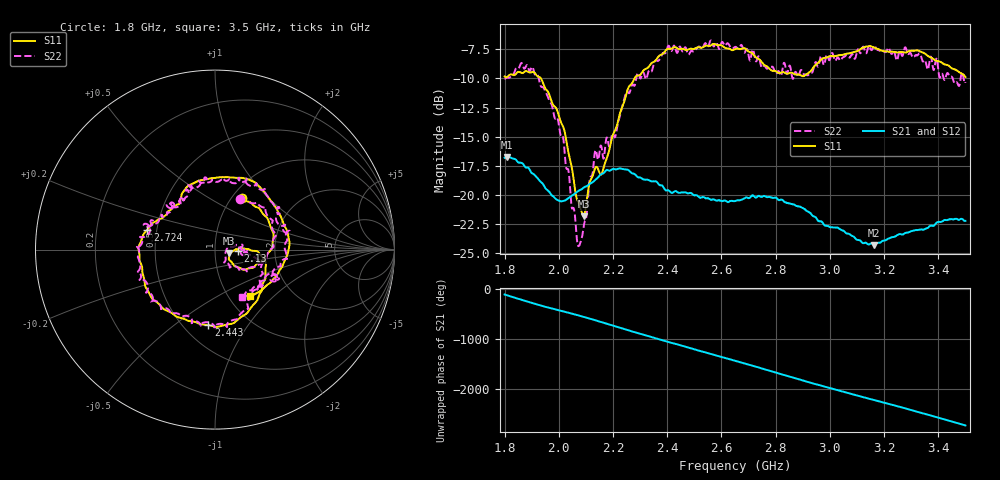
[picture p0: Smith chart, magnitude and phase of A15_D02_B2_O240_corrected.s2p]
! Created with skrf 1.9.0 (http://scikit-rf.org).
# Hz S RI R 50.0
!freq ReS11 ImS11 ReS21 ImS21 ReS12 ImS12 ReS22 ImS22
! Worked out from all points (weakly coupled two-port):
!   1601 points, 1.8 GHz to 3.5 GHz, reference 50 ohm
!   highest |S21| = -16.74 dB at 1.81 GHz (marker M1); lowest = -24.3 dB at 3.162 GHz (marker M2)
!   lowest |S11| = -21.8 dB at 2.092 GHz (marker M3), VSWR 1.18, Z = 58.5 - j2.36 ohm
!   |S11| at or under -10 dB: 1.934 GHz to 2.279 GHz (345.5 MHz wide, 16.4 % of centre)
!   |S22| runs from -24.4 to -6.7 dB; largest |S21 - S12| = 0.0024
!   S11 on the Smith chart (normalised r, x): 1.8 GHz: 1.11, +0.71; 2.13 GHz: 1.29, -0.02; 2.443 GHz: 0.66, -0.67; 2.724 GHz: 0.44, +0.12; 3.5 GHz: 1.25, -0.72
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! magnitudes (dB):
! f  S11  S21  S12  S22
! 1.8 GHz  -9.8  -16.8  -16.8  -10.0
! 1.81 GHz  -9.9  -16.7  -16.8  -9.9
! 1.864 GHz  -9.5  -17.3  -17.3  -8.7
! 1.952 GHz  -10.9  -19.5  -19.4  -11.2
! 2.011 GHz  -13.9  -20.5  -20.5  -14.8
! 2.07 GHz  -20.5  -19.7  -19.7  -24.3
! 2.084 GHz  -21.4  -19.5  -19.5  -23.7
! 2.092 GHz  -21.8  -19.3  -19.4  -22.7
! 2.13 GHz  -17.9  -18.8  -18.8  -16.8
! 2.162 GHz  -17.9  -18.2  -18.1  -16.7
! 2.209 GHz  -14.4  -17.8  -17.8  -14.9
! 2.26 GHz  -10.7  -17.9  -17.9  -11.3
! 2.367 GHz  -8.1  -19.0  -19.0  -8.5
! 2.443 GHz  -7.5  -19.8  -19.8  -7.4
! 2.65 GHz  -7.5  -20.5  -20.5  -7.3
! 2.724 GHz  -8.1  -20.2  -20.2  -8.4
! 2.812 GHz  -9.5  -20.4  -20.3  -9.4
! 2.934 GHz  -9.2  -21.7  -21.7  -9.5
! 3.162 GHz  -7.3  -24.3  -24.2  -7.2
! 3.217 GHz  -7.7  -23.7  -23.7  -7.4
! 3.328 GHz  -7.6  -23.0  -23.0  -7.9
! 3.5 GHz  -9.9  -22.2  -22.2  -10.3
